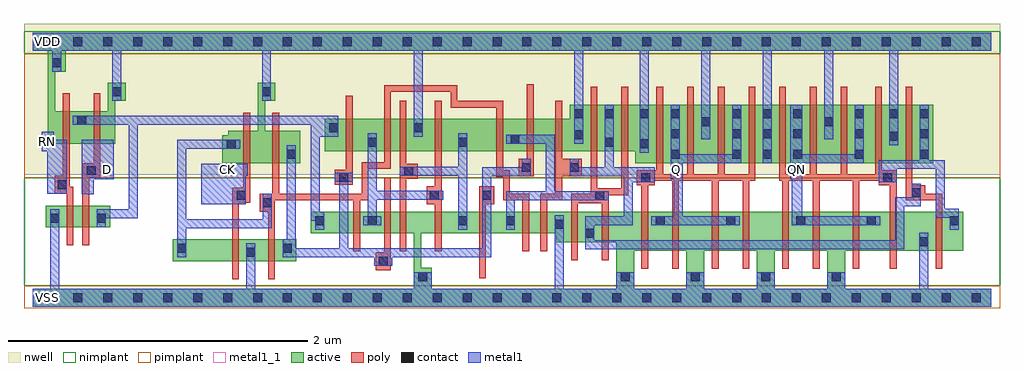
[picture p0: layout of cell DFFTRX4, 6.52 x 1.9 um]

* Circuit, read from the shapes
.subckt DFFTRX4 CK D Q QN RN VDD VSS
M1 n1 RN VSS VSS nfet w=0.145u l=0.045u
M2 n2 D n1 VSS nfet w=0.145u l=0.045u
M3 VSS CK n3 VSS nfet w=0.145u l=0.045u
M4 n4 n3 VSS VSS nfet w=0.145u l=0.045u
M5 n5 n3 n2 VSS nfet w=0.145u l=0.045u
M6 n6 n4 n5 VSS nfet w=0.145u l=0.045u
M7 VSS n7 n6 VSS nfet w=0.145u l=0.045u
M8 n7 n5 VSS VSS nfet w=0.145u l=0.045u
M9 n8 n4 n7 VSS nfet w=0.145u l=0.045u
M10 n9 n3 n8 VSS nfet w=0.145u l=0.045u
M11 VSS n10 n9 VSS nfet w=0.145u l=0.045u
M12 n10 n8 VSS VSS nfet w=0.205u l=0.045u m=2
M13 Q n10 VSS VSS nfet w=0.26u l=0.045u m=4
M14 QN n11 VSS VSS nfet w=0.26u l=0.045u m=4
M15 n11 n10 VSS VSS nfet w=0.26u l=0.045u
M16 n2 RN VDD VDD pfet w=0.215u l=0.045u
M17 VDD D n2 VDD pfet w=0.215u l=0.045u
M18 VDD CK n3 VDD pfet w=0.215u l=0.045u
M19 n4 n3 VDD VDD pfet w=0.215u l=0.045u
M20 n5 n4 n2 VDD pfet w=0.215u l=0.045u
M21 n12 n3 n5 VDD pfet w=0.215u l=0.045u
M22 VDD n7 n12 VDD pfet w=0.215u l=0.045u
M23 n7 n5 VDD VDD pfet w=0.215u l=0.045u
M24 n8 n3 n7 VDD pfet w=0.215u l=0.045u
M25 n13 n4 n8 VDD pfet w=0.215u l=0.045u
M26 VDD n10 n13 VDD pfet w=0.215u l=0.045u
M27 n10 n8 VDD VDD pfet w=0.31u l=0.045u m=2
M28 Q n10 VDD VDD pfet w=0.39u l=0.045u m=4
M29 QN n11 VDD VDD pfet w=0.39u l=0.045u m=4
M30 n11 n10 VDD VDD pfet w=0.39u l=0.045u
.ends

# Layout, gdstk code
import gdstk
lib = gdstk.Library(unit=1e-6, precision=5e-10)
def R(c, l, rs):  # rectangles x0, y0, x1, y1
    for r in rs: c.add(gdstk.rectangle(r[:2], r[2:], *l))
def A(c, l, x, y, w, h, nx, ny, dx, dy):  # array of equal rectangles
    R(c, l, [(x+i*dx, y+j*dy, x+i*dx+w, y+j*dy+h) for i in range(nx) for j in range(ny)])
def P(c, l, *ps):  # polygons
    for p in ps: c.add(gdstk.Polygon(p, *l))
active = (1, 0)
nwell = (2, 0)
poly = (3, 0)
nimplant = (4, 0)
pimplant = (5, 0)
contact = (6, 0)
metal1 = (7, 0)
metal1_1 = (7, 1)

dfftrx4 = lib.new_cell('DFFTRX4')
R(dfftrx4, active, [(0.935,0.245,1.76,0.39), (0.085,0.47,0.515,0.615)])
P(dfftrx4, active, [(0,1.77),(6.4,1.77),(6.4,1.65),(0.22,1.65),(0.22,1.51),(0.15,1.51),(0.15,1.245),(0.5,1.245),(0.5,1.435),(0.62,1.435),(0.62,1.315),(0.55,1.315),(0.55,1.03),(0.1,1.03),(0.1,1.65),(0,1.65)],
  [(1.5,1.435),(1.62,1.435),(1.62,1.315),(1.55,1.315),(1.55,1.115),(1.785,1.115),(1.785,0.9),(1.265,0.9),(1.265,1.085),(1.305,1.085),(1.305,1.115),(1.5,1.115)],
  [(3.585,1.29),(6.015,1.29),(6.015,0.9),(4.025,0.9),(4.025,0.98),(1.95,0.98),(1.95,1.195),(3.585,1.195)],
  [(1.855,0.575),(6.215,0.575),(6.215,0.315),(5.425,0.315),(5.425,0.06),(6.4,0.06),(6.4,-0.06),(0,-0.06),(0,0.06),(2.545,0.06),(2.545,0.43),(2.595,0.43),(2.595,0.2),(2.665,0.2),(2.665,0.06),(3.895,0.06),(3.895,0.315),(4.015,0.315),(4.015,0.06),(4.365,0.06),(4.365,0.315),(4.485,0.315),(4.485,0.06),(4.835,0.06),(4.835,0.315),(4.955,0.315),(4.955,0.06),(5.305,0.06),(5.305,0.315),(3.895,0.315),(3.895,0.37),(3.495,0.37),(3.495,0.43),(1.855,0.43)])
R(dfftrx4, nwell, [(-0.06,0.82,6.46,1.83)])
P(dfftrx4, poly, [(2.345,1.42),(2.835,1.42),(2.835,1.315),(3.14,1.315),(3.14,0.85),(3.185,0.85),(3.185,0.695),(3.315,0.695),(3.315,0.31),(3.27,0.31),(3.27,0.65),(3.14,0.65),(3.14,0.805),(3.095,0.805),(3.095,1.27),(2.79,1.27),(2.79,1.375),(2.39,1.375),(2.39,0.86),(2.24,0.86),(2.24,0.65),(2.185,0.65),(2.185,0.31),(2.14,0.31),(2.14,0.65),(1.615,0.65),(1.615,0.125),(1.57,0.125),(1.57,0.575),(1.515,0.575),(1.515,0.695),(1.6,0.695),(1.6,1.235),(1.645,1.235),(1.645,0.695),(2.195,0.695),(2.195,0.905),(2.345,0.905)],
  [(0.2,1.365),(0.245,1.365),(0.245,0.74),(0.27,0.74),(0.27,0.35),(0.225,0.35),(0.225,0.695),(0.145,0.695),(0.145,0.815),(0.2,0.815)],
  [(0.405,1.365),(0.45,1.365),(0.45,0.8),(0.375,0.8),(0.375,0.35),(0.33,0.35),(0.33,0.9),(0.405,0.9)],
  [(2.09,1.35),(2.135,1.35),(2.135,0.755),(2.015,0.755),(2.015,0.855),(2.09,0.855)],
  [(2.45,1.315),(2.495,1.315),(2.495,0.895),(2.57,0.895),(2.57,0.795),(2.495,0.795),(2.495,0.31),(2.45,0.31)],
  [(2.685,1.315),(2.73,1.315),(2.73,0.31),(2.685,0.31),(2.685,0.625),(2.63,0.625),(2.63,0.745),(2.685,0.745)],
  [(3.3,1.425),(3.345,1.425),(3.345,0.81),(3.245,0.81),(3.245,0.93),(3.3,0.93)],
  [(3.49,1.315),(3.535,1.315),(3.535,0.93),(3.665,0.93),(3.665,0.81),(3.535,0.81),(3.535,0.65),(3.435,0.65),(3.435,0.31),(3.39,0.31),(3.39,0.695),(3.49,0.695)],
  [(3.725,1.41),(3.77,1.41),(3.77,0.73),(3.93,0.73),(3.93,1.41),(3.975,1.41),(3.975,0.685),(3.845,0.685),(3.845,0.25),(3.8,0.25),(3.8,0.63),(3.64,0.63),(3.64,0.25),(3.595,0.25),(3.595,0.695),(3.725,0.695)],
  [(4.165,1.41),(4.21,1.41),(4.21,0.825),(4.37,0.825),(4.37,1.41),(4.415,1.41),(4.415,0.825),(4.575,0.825),(4.575,1.41),(4.62,1.41),(4.62,0.825),(4.78,0.825),(4.78,1.41),(4.825,1.41),(4.825,0.78),(4.785,0.78),(4.785,0.195),(4.74,0.195),(4.74,0.78),(4.58,0.78),(4.58,0.195),(4.535,0.195),(4.535,0.78),(4.315,0.78),(4.315,0.195),(4.27,0.195),(4.27,0.78),(4.155,0.78),(4.155,0.75),(4.11,0.75),(4.11,0.195),(4.065,0.195),(4.065,0.75),(4.035,0.75),(4.035,0.85),(4.165,0.85)],
  [(4.985,1.41),(5.03,1.41),(5.03,0.825),(5.19,0.825),(5.19,1.41),(5.235,1.41),(5.235,0.825),(5.395,0.825),(5.395,1.41),(5.44,1.41),(5.44,0.825),(5.625,0.825),(5.625,1.41),(5.67,1.41),(5.67,0.85),(5.77,0.85),(5.77,0.195),(5.725,0.195),(5.725,0.75),(5.65,0.75),(5.65,0.78),(5.52,0.78),(5.52,0.195),(5.475,0.195),(5.475,0.78),(5.255,0.78),(5.255,0.195),(5.21,0.195),(5.21,0.78),(5.05,0.78),(5.05,0.195),(5.005,0.195),(5.005,0.78),(4.985,0.78)],
  [(5.83,1.41),(5.875,1.41),(5.875,0.75),(5.96,0.75),(5.96,0.695),(6.075,0.695),(6.075,0.195),(6.03,0.195),(6.03,0.65),(5.83,0.65)],
  [(1.405,1.235),(1.45,1.235),(1.45,0.635),(1.375,0.635),(1.375,0.125),(1.33,0.125),(1.33,0.735),(1.405,0.735)],
  [(2.98,0.745),(3.08,0.745),(3.08,0.625),(3.025,0.625),(3.025,0.13),(2.98,0.13)],
  [(2.345,0.8),(2.39,0.8),(2.39,0.185),(2.29,0.185),(2.29,0.305),(2.345,0.305)])
R(dfftrx4, nimplant, [(-0.06,0.08,6.46,0.8), (-0.06,1.63,6.46,1.78)])
R(dfftrx4, pimplant, [(-0.06,-0.07,6.46,0.08), (-0.06,0.8,6.46,1.63)])
A(dfftrx4, contact, 0.07, -0.03, 0.06, 0.06, 32, 2, 0.2, 1.71)
A(dfftrx4, contact, 3.925, 0.11, 0.06, 0.06, 4, 1, 0.47, 0)
A(dfftrx4, contact, 4.16, 0.485, 0.06, 0.06, 4, 1, 0.47, 0)
A(dfftrx4, contact, 4.26, 0.93, 0.06, 0.06, 1, 3, 0, 0.135)
A(dfftrx4, contact, 4.67, 0.93, 0.06, 0.06, 3, 3, 0.205, 0.135)
A(dfftrx4, contact, 5.49, 0.93, 0.06, 0.06, 1, 3, 0, 0.135)
A(dfftrx4, contact, 5.925, 0.93, 0.06, 0.06, 1, 3, 0, 0.135)
R(dfftrx4, contact, [(2.575,0.11,2.635,0.17), (2.31,0.215,2.37,0.275), (1.425,0.275,1.485,0.335), (0.965,0.3,1.025,0.36), (1.67,0.3,1.73,0.36), (5.92,0.345,5.98,0.405), (3.69,0.4,3.75,0.46), (3.485,0.46,3.545,0.52), (1.885,0.485,1.945,0.545), (2.235,0.485,2.295,0.545), (2.84,0.485,2.9,0.545), (3.16,0.485,3.22,0.545), (6.125,0.485,6.185,0.545), (0.115,0.5,0.175,0.56), (0.425,0.5,0.485,0.56), (1.535,0.605,1.595,0.665), (3.755,0.65,3.815,0.71), (1.36,0.655,1.42,0.715), (2.65,0.655,2.71,0.715), (3,0.655,3.06,0.715), (5.87,0.67,5.93,0.73), (0.165,0.725,0.225,0.785), (4.065,0.77,4.125,0.83), (5.68,0.77,5.74,0.83), (2.045,0.775,2.105,0.835), (2.48,0.815,2.54,0.875), (0.36,0.82,0.42,0.88), (3.265,0.84,3.325,0.9), (3.585,0.84,3.645,0.9), (1.695,0.93,1.755,0.99), (1.295,0.995,1.355,1.055), (4.055,1,4.115,1.06), (2.235,1.01,2.295,1.07), (2.84,1.01,2.9,1.07), (3.82,1.01,3.88,1.07), (3.19,1.03,3.25,1.09), (5.72,1.05,5.78,1.11), (3.615,1.06,3.675,1.12), (1.98,1.105,2.04,1.165), (2.545,1.105,2.605,1.165), (4.465,1.145,4.525,1.205), (5.285,1.145,5.345,1.205), (0.295,1.155,0.355,1.215), (3.615,1.2,3.675,1.26), (3.82,1.2,3.88,1.26), (4.055,1.2,4.115,1.26), (5.72,1.2,5.78,1.26), (0.53,1.345,0.59,1.405), (1.53,1.345,1.59,1.405), (0.13,1.54,0.19,1.6)])
P(dfftrx4, metal1, [(0,1.77),(6.4,1.77),(6.4,1.65),(5.78,1.65),(5.78,1.02),(5.72,1.02),(5.72,1.65),(5.345,1.65),(5.345,1.06),(5.285,1.06),(5.285,1.65),(4.935,1.65),(4.935,0.9),(4.875,0.9),(4.875,1.65),(4.525,1.65),(4.525,1.06),(4.465,1.06),(4.465,1.65),(4.115,1.65),(4.115,0.97),(4.055,0.97),(4.055,1.65),(3.675,1.65),(3.675,1.03),(3.615,1.03),(3.615,1.65),(2.605,1.65),(2.605,1.075),(2.545,1.075),(2.545,1.65),(1.59,1.65),(1.59,1.315),(1.53,1.315),(1.53,1.65),(0.59,1.65),(0.59,1.315),(0.53,1.315),(0.53,1.65),(0.19,1.65),(0.19,1.51),(0.13,1.51),(0.13,1.65),(0,1.65)],
  [(0.265,1.215),(2.04,1.215),(2.04,1.075),(1.915,1.075),(1.915,0.575),(1.945,0.575),(1.945,0.455),(1.885,0.455),(1.885,0.515),(1.855,0.515),(1.855,1.155),(0.7,1.155),(0.7,0.53),(0.485,0.53),(0.485,0.47),(0.425,0.47),(0.425,0.59),(0.64,0.59),(0.64,1.155),(0.265,1.155)],
  [(0.06,1.11),(0.14,1.11),(0.14,1.055),(0.225,1.055),(0.225,0.695),(0.095,0.695),(0.095,0.98),(0.06,0.98)],
  [(0.325,1.055),(0.54,1.055),(0.54,0.79),(0.405,0.79),(0.405,0.69),(0.325,0.69)],
  [(2.235,1.1),(2.295,1.1),(2.295,0.715),(2.74,0.715),(2.74,0.655),(2.295,0.655),(2.295,0.545),(2.325,0.545),(2.325,0.485),(2.205,0.485),(2.205,0.545),(2.235,0.545)],
  [(2.84,1.1),(2.9,1.1),(2.9,0.455),(2.84,0.455),(2.84,0.815),(2.45,0.815),(2.45,0.875),(2.84,0.875)],
  [(0.115,0.59),(0.175,0.59),(0.175,0.06),(1.425,0.06),(1.425,0.365),(1.485,0.365),(1.485,0.06),(2.545,0.06),(2.545,0.17),(2.665,0.17),(2.665,0.06),(3.485,0.06),(3.485,0.55),(3.545,0.55),(3.545,0.06),(3.895,0.06),(3.895,0.17),(4.015,0.17),(4.015,0.06),(4.365,0.06),(4.365,0.17),(4.485,0.17),(4.485,0.06),(4.835,0.06),(4.835,0.17),(4.955,0.17),(4.955,0.06),(5.305,0.06),(5.305,0.17),(5.425,0.17),(5.425,0.06),(5.92,0.06),(5.92,0.435),(5.98,0.435),(5.98,0.06),(6.4,0.06),(6.4,-0.06),(0,-0.06),(0,0.06),(0.115,0.06)],
  [(0.965,1.055),(1.385,1.055),(1.385,0.995),(1.025,0.995),(1.025,0.525),(1.535,0.525),(1.535,0.695),(1.595,0.695),(1.595,0.465),(1.025,0.465),(1.025,0.27),(0.965,0.27)],
  [(1.695,1.02),(1.755,1.02),(1.755,0.33),(2.045,0.33),(2.045,0.775),(2.015,0.775),(2.015,0.835),(2.135,0.835),(2.135,0.775),(2.105,0.775),(2.105,0.33),(3,0.33),(3,0.87),(3.265,0.87),(3.265,0.93),(3.325,0.93),(3.325,0.81),(3.06,0.81),(3.06,0.27),(2.4,0.27),(2.4,0.215),(2.28,0.215),(2.28,0.27),(1.67,0.27),(1.67,0.39),(1.695,0.39)],
  [(1.125,0.895),(1.435,0.895),(1.435,0.815),(1.42,0.815),(1.42,0.625),(1.125,0.625)],
  [(3.16,1.09),(3.485,1.09),(3.485,0.71),(3.845,0.71),(3.845,0.65),(3.22,0.65),(3.22,0.455),(3.16,0.455),(3.16,0.71),(3.425,0.71),(3.425,1.03),(3.16,1.03)],
  [(3.585,0.93),(3.645,0.93),(3.645,0.87),(3.82,0.87),(3.82,1.29),(3.88,1.29),(3.88,0.87),(4.155,0.87),(4.155,0.77),(4.005,0.77),(4.005,0.485),(3.75,0.485),(3.75,0.385),(5.76,0.385),(5.76,0.67),(5.87,0.67),(5.87,0.76),(5.93,0.76),(5.93,0.61),(5.82,0.61),(5.82,0.325),(3.69,0.325),(3.69,0.545),(3.945,0.545),(3.945,0.81),(3.585,0.81)],
  [(4.26,1.29),(4.32,1.29),(4.32,0.96),(4.67,0.96),(4.67,1.29),(4.73,1.29),(4.73,0.9),(4.34,0.9),(4.34,0.545),(4.72,0.545),(4.72,0.485),(4.13,0.485),(4.13,0.545),(4.28,0.545),(4.28,0.79),(4.26,0.79)],
  [(5.06,1.29),(5.14,1.29),(5.14,0.96),(5.49,0.96),(5.49,1.29),(5.55,1.29),(5.55,0.9),(5.14,0.9),(5.14,0.545),(5.66,0.545),(5.66,0.485),(5.07,0.485),(5.07,0.79),(5.06,0.79)],
  [(5.925,1.29),(5.985,1.29),(5.985,0.92),(6.09,0.92),(6.09,0.595),(6.185,0.595),(6.185,0.455),(6.125,0.455),(6.125,0.535),(6.03,0.535),(6.03,0.86),(5.77,0.86),(5.77,0.77),(5.65,0.77),(5.65,0.92),(5.925,0.92)])
R(dfftrx4, metal1_1, [(0.06,-0.04,0.14,0.04), (0.46,0.815,0.54,0.895), (1.26,0.815,1.34,0.895), (4.26,0.815,4.34,0.895), (5.06,0.815,5.14,0.895), (0.06,1.005,0.14,1.085), (0.06,1.67,0.14,1.75)])
dfftrx4.add(gdstk.Label('QN', (5.1,0.855), layer=7, texttype=1))
dfftrx4.add(gdstk.Label('Q', (4.3,0.855), layer=7, texttype=1))
dfftrx4.add(gdstk.Label('CK', (1.3,0.855), layer=7, texttype=1))
dfftrx4.add(gdstk.Label('D', (0.5,0.855), layer=7, texttype=1))
dfftrx4.add(gdstk.Label('RN', (0.1,1.045), layer=7, texttype=1))
dfftrx4.add(gdstk.Label('VDD', (0.1,1.71), layer=7, texttype=1))
dfftrx4.add(gdstk.Label('VSS', (0.1,0), layer=7, texttype=1))
dfftrx4.add(gdstk.Label('DFFTRX4', (0,0), layer=63, texttype=0))

lib.write_gds('DFFTRX4.gds')
